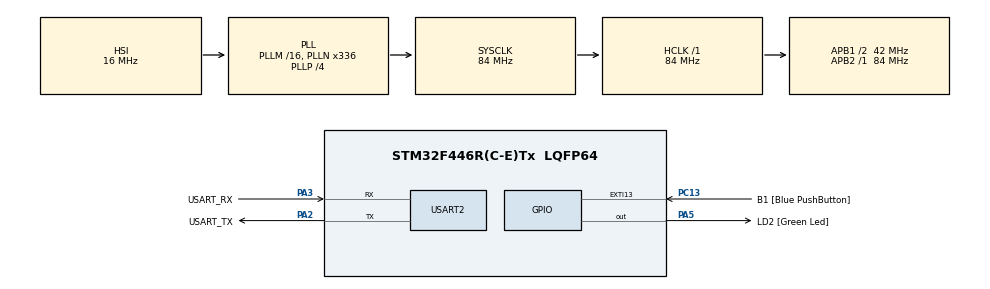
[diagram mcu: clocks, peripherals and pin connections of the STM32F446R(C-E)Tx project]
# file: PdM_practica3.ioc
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Mcu.Family=STM32F4
Mcu.Name=STM32F446R(C-E)Tx
Mcu.Package=LQFP64
NVIC.EXTI15_10_IRQn=true\:0\:1\:true\:false\:true\:true\:true\:true
NVIC.PriorityGroup=NVIC_PRIORITYGROUP_0
PA13.GPIO_Label=TMS
PA13.Mode=Serial_Wire
PA13.Signal=SYS_JTMS-SWDIO
PA14.GPIO_Label=TCK
PA14.Mode=Serial_Wire
PA14.Signal=SYS_JTCK-SWCLK
PA2.GPIO_Label=USART_TX
PA2.Mode=Asynchronous
PA2.Signal=USART2_TX
PA3.GPIO_Label=USART_RX
PA3.Mode=Asynchronous
PA3.Signal=USART2_RX
PA5.GPIO_Label=LD2 [Green Led]
PA5.Signal=GPIO_Output
PB3.GPIO_Label=SWO
PB3.Signal=SYS_JTDO-SWO
PC13.GPIO_Label=B1 [Blue PushButton]
PC13.GPIO_ModeDefaultEXTI=GPIO_MODE_IT_FALLING
PC13.Signal=GPXTI13
PC14-OSC32_IN.Mode=LSE-External-Oscillator
PC14-OSC32_IN.Signal=RCC_OSC32_IN
PC15-OSC32_OUT.Mode=LSE-External-Oscillator
PC15-OSC32_OUT.Signal=RCC_OSC32_OUT
PH0-OSC_IN.Mode=HSE-External-Oscillator
PH0-OSC_IN.Signal=RCC_OSC_IN
PH1-OSC_OUT.Mode=HSE-External-Oscillator
PH1-OSC_OUT.Signal=RCC_OSC_OUT
ProjectManager.HeapSize=0x200
ProjectManager.StackSize=0x400
ProjectManager.TargetToolchain=STM32CubeIDE
RCC.48MHZClocksFreq_Value=84000000
RCC.AHBFreq_Value=84000000
RCC.APB1CLKDivider=RCC_HCLK_DIV2
RCC.APB1Freq_Value=42000000
RCC.APB1TimFreq_Value=84000000
RCC.APB2Freq_Value=84000000
RCC.APB2TimFreq_Value=84000000
RCC.CortexFreq_Value=84000000
RCC.FLatency-AdvancedSettings=FLASH_LATENCY_2
RCC.HCLKFreq_Value=84000000
RCC.HSE_VALUE=8000000
RCC.HSI_VALUE=16000000
RCC.PLLN=336
RCC.PLLP=RCC_PLLP_DIV4
RCC.SYSCLKFreq_VALUE=84000000
RCC.SYSCLKSource=RCC_SYSCLKSOURCE_PLLCLK
RCC.USBFreq_Value=168000000
RCC.VCOOutputFreq_Value=336000000
USART2.VirtualMode=VM_ASYNC
board=NUCLEO-F446RE

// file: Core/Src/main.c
/* USER CODE BEGIN Header */
/**
  ******************************************************************************
  * @file           : main.c
  * @brief          : Main program body
  ******************************************************************************
  * @attention
  *
  * Copyright (c) 2025 STMicroelectronics.
  * All rights reserved.
  *
  * This software is licensed under terms that can be found in the LICENSE file
  * in the root directory of this software component.
  * If no LICENSE file comes with this software, it is provided AS-IS.
  *
  ******************************************************************************
  */
/* USER CODE END Header */
#include "main.h"

/* USER CODE BEGIN Includes */
#include "API_delay.h"
/* USER CODE END Includes */

UART_HandleTypeDef huart2;

/* USER CODE BEGIN PV */
void counterInit(uint8_t * counter, uint8_t limit){
	*counter = limit;
}

bool_t counterDown(uint8_t * counter){
	if(!(--(*counter))){
		return true;
	}
	return false;
}

/* USER CODE END PV */

void SystemClock_Config(void);
static void MX_GPIO_Init(void);
static void MX_USART2_UART_Init(void);

int main(void)
{

  /* MCU Configuration--------------------------------------------------------*/

  /* Reset of all peripherals, Initializes the Flash interface and the Systick. */
  HAL_Init();

  /* Configure the system clock */
  SystemClock_Config();

  /* Initialize all configured peripherals */
  MX_GPIO_Init();
  MX_USART2_UART_Init();
  /* USER CODE BEGIN 2 */

  delay_t myDelay;
  uint8_t indiceDelay = 0;
  uint8_t myCounter;
  const uint8_t BLINK_PER_DELAY = 2; // cantidad de parpadeos por valor de delay x2 (led on/led off)
  const uint8_t NUM_DELAY = 4; //cantidad de valores en el array de tiempos

  const uint32_t TIEMPOS[] = {500, 100, 100, 1000};

  delayInit(&myDelay, TIEMPOS[indiceDelay]);
  counterInit(&myCounter, BLINK_PER_DELAY);

  /* USER CODE END 2 */

  /* Infinite loop */
  /* USER CODE BEGIN WHILE */
  while (1)
  {
	  if(delayRead(&myDelay)){ // si se cumplio el delay, toggle y reiniciar el delay
	  		  HAL_GPIO_TogglePin(LD2_GPIO_Port, LD2_Pin);

	  		  if(counterDown(&myCounter)){ // si el contador termino, muevo el indice de valores de delay y lo reinicio
	  			  indiceDelay = (indiceDelay + 1) % NUM_DELAY;
	  			  counterInit(&myCounter, BLINK_PER_DELAY);
	  		  }
	  		  if(!delayIsRunning(&myDelay)){// checkeo que el delay no este corriendo antes de cambiar el valor de delay
	  			delayWrite(&myDelay, TIEMPOS[indiceDelay]);
	  		  }

	  	  }

    /* USER CODE END WHILE */

  }
}

void SystemClock_Config(void)
{
  RCC_OscInitTypeDef RCC_OscInitStruct = {0};
  RCC_ClkInitTypeDef RCC_ClkInitStruct = {0};

  /** Configure the main internal regulator output voltage
  */
  __HAL_RCC_PWR_CLK_ENABLE();
  __HAL_PWR_VOLTAGESCALING_CONFIG(PWR_REGULATOR_VOLTAGE_SCALE3);

  /** Initializes the RCC Oscillators according to the specified parameters
  * in the RCC_OscInitTypeDef structure.
  */
  RCC_OscInitStruct.OscillatorType = RCC_OSCILLATORTYPE_HSI;
  RCC_OscInitStruct.HSIState = RCC_HSI_ON;
  RCC_OscInitStruct.HSICalibrationValue = RCC_HSICALIBRATION_DEFAULT;
  RCC_OscInitStruct.PLL.PLLState = RCC_PLL_ON;
  RCC_OscInitStruct.PLL.PLLSource = RCC_PLLSOURCE_HSI;
  RCC_OscInitStruct.PLL.PLLM = 16;
  RCC_OscInitStruct.PLL.PLLN = 336;
  RCC_OscInitStruct.PLL.PLLP = RCC_PLLP_DIV4;
  RCC_OscInitStruct.PLL.PLLQ = 2;
  RCC_OscInitStruct.PLL.PLLR = 2;
  if (HAL_RCC_OscConfig(&RCC_OscInitStruct) != HAL_OK)
  {
    Error_Handler();
  }

  /** Initializes the CPU, AHB and APB buses clocks
  */
  RCC_ClkInitStruct.ClockType = RCC_CLOCKTYPE_HCLK|RCC_CLOCKTYPE_SYSCLK
                              |RCC_CLOCKTYPE_PCLK1|RCC_CLOCKTYPE_PCLK2;
  RCC_ClkInitStruct.SYSCLKSource = RCC_SYSCLKSOURCE_PLLCLK;
  RCC_ClkInitStruct.AHBCLKDivider = RCC_SYSCLK_DIV1;
  RCC_ClkInitStruct.APB1CLKDivider = RCC_HCLK_DIV2;
  RCC_ClkInitStruct.APB2CLKDivider = RCC_HCLK_DIV1;

  if (HAL_RCC_ClockConfig(&RCC_ClkInitStruct, FLASH_LATENCY_2) != HAL_OK)
  {
    Error_Handler();
  }
}

static void MX_USART2_UART_Init(void)
{

  huart2.Instance = USART2;
  huart2.Init.BaudRate = 115200;
  huart2.Init.WordLength = UART_WORDLENGTH_8B;
  huart2.Init.StopBits = UART_STOPBITS_1;
  huart2.Init.Parity = UART_PARITY_NONE;
  huart2.Init.Mode = UART_MODE_TX_RX;
  huart2.Init.HwFlowCtl = UART_HWCONTROL_NONE;
  huart2.Init.OverSampling = UART_OVERSAMPLING_16;
  if (HAL_UART_Init(&huart2) != HAL_OK)
  {
    Error_Handler();
  }

}

static void MX_GPIO_Init(void)
{
  GPIO_InitTypeDef GPIO_InitStruct = {0};

  /* GPIO Ports Clock Enable */
  __HAL_RCC_GPIOC_CLK_ENABLE();
  __HAL_RCC_GPIOH_CLK_ENABLE();
  __HAL_RCC_GPIOA_CLK_ENABLE();
  __HAL_RCC_GPIOB_CLK_ENABLE();

  /*Configure GPIO pin Output Level */
  HAL_GPIO_WritePin(LD2_GPIO_Port, LD2_Pin, GPIO_PIN_RESET);

  /*Configure GPIO pin : B1_Pin */
  GPIO_InitStruct.Pin = B1_Pin;
  GPIO_InitStruct.Mode = GPIO_MODE_IT_FALLING;
  GPIO_InitStruct.Pull = GPIO_NOPULL;
  HAL_GPIO_Init(B1_GPIO_Port, &GPIO_InitStruct);

  /*Configure GPIO pin : LD2_Pin */
  GPIO_InitStruct.Pin = LD2_Pin;
  GPIO_InitStruct.Mode = GPIO_MODE_OUTPUT_PP;
  GPIO_InitStruct.Pull = GPIO_NOPULL;
  GPIO_InitStruct.Speed = GPIO_SPEED_FREQ_LOW;
  HAL_GPIO_Init(LD2_GPIO_Port, &GPIO_InitStruct);

  /* EXTI interrupt init*/
  HAL_NVIC_SetPriority(EXTI15_10_IRQn, 0, 1);
  HAL_NVIC_EnableIRQ(EXTI15_10_IRQn);

}

void Error_Handler(void)
{
  __disable_irq();
  while (1)
  {
  }
}
